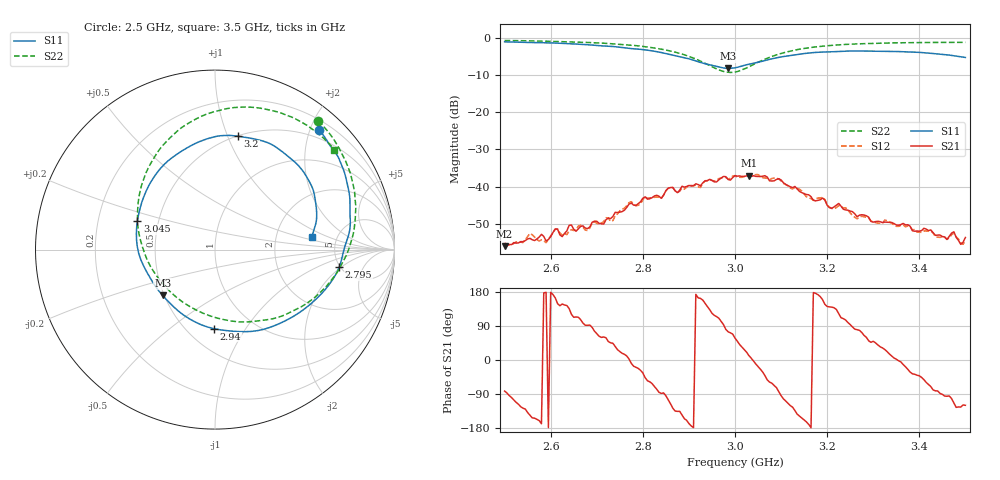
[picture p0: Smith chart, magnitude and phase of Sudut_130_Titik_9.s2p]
# Hz S RI R 50
! CMT, C1220, 16058040, 17.2.0/1
! Date: 15/08/2018 09:47:49
! Data: Format (Calibration Info)
! Freq  S11: Re/Im (F2)  S21: Re/Im (F2)  S12: Re/Im (F2)  S22: Re/Im (F2)
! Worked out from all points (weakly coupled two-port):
!   201 points, 2.5 GHz to 3.5 GHz, reference 50 ohm
!   highest |S21| = -37.06 dB at 3.03 GHz (marker M1); lowest = -56.0 dB at 2.5 GHz (marker M2)
!   lowest |S11| = -8.2 dB at 2.985 GHz (marker M3), VSWR 2.27, Z = 24.5 - j14.7 ohm
!   |S11| at or under -10 dB: nowhere
!   |S22| runs from -9.3 to -0.7 dB; largest |S21 - S12| = 0.0011
!   S11 on the Smith chart (normalised r, x): 2.5 GHz: 0.36, +2.14; 2.795 GHz: 4.90, -1.86; 2.94 GHz: 0.67, -0.73; 3.045 GHz: 0.38, +0.15; 3.2 GHz: 0.51, +1.09; 3.5 GHz: 3.24, +0.64
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2.5e9  0.5781 0.6664  0.000218 -0.00156  0.000229 -0.00172  0.5755 0.7179
2.555e9  0.6421 0.5785  -0.00166 -0.00113  -0.00186 -0.00142  0.6365 0.6488
2.59e9  0.687 0.5139  -0.00185 4.93e-05  -0.00176 -0.000104  0.6731 0.5962
2.61e9  0.7041 0.4749  -0.00258 0.000751  -0.0026 0.000671  0.6932 0.5616
2.625e9  0.718 0.4391  -0.0018 0.00113  -0.00178 0.00133  0.707 0.5352
2.64e9  0.7298 0.3978  -0.00215 0.00209  -0.00176 0.00181  0.7215 0.507
2.67e9  0.7464 0.3232  -0.000384 0.00293  -0.000183 0.00283  0.7472 0.4442
2.795e9  0.692 -0.0973  0.00555 -0.00286  0.00519 -0.00274  0.7679 0.0777
2.835e9  0.5935 -0.2454  0.000602 -0.00738  0.000751 -0.00716  0.7065 -0.0798
2.94e9  -0.00617 -0.4404  -0.00933 0.00752  -0.00947 0.00733  0.172 -0.4036
2.985e9  -0.2917 -0.2556  0.00333 0.012  0.00282 0.0123  -0.1805 -0.2922
3e9  -0.3624 -0.1557  0.00748 0.0118  0.00814 0.0114  -0.2796 -0.2033
3.03e9  -0.437 0.0532  0.0137 0.00288  0.0136 0.003  -0.4057 0.0193
3.045e9  -0.4326 0.1594  0.0135 -0.00245  0.0143 -0.00242  -0.4313 0.1406
3.105e9  -0.2619 0.4941  -0.00242 -0.011  -0.00264 -0.0107  -0.3239 0.5375
3.17e9  0.0145 0.6322  -0.00653 0.000231  -0.00654 -0.000182  -0.0706 0.745
3.2e9  0.1292 0.6312  -0.00437 0.0035  -0.00428 0.00379  0.0424 0.78
3.335e9  0.4807 0.4493  0.00318 0.000911  0.00328 0.000718  0.4181 0.7419
3.46e9  0.5657 0.1685  -0.00019 -0.00193  -0.000257 -0.00194  0.6187 0.6076
3.475e9  0.5577 0.131  -0.000971 -0.00226  -0.000859 -0.0022  0.637 0.5891
3.49e9  0.5465 0.0935  -0.000938 -0.00138  -0.00107 -0.00138  0.6541 0.5701
3.5e9  0.5387 0.0698  -0.00102 -0.0018  -0.00103 -0.00158  0.6654 0.5575
